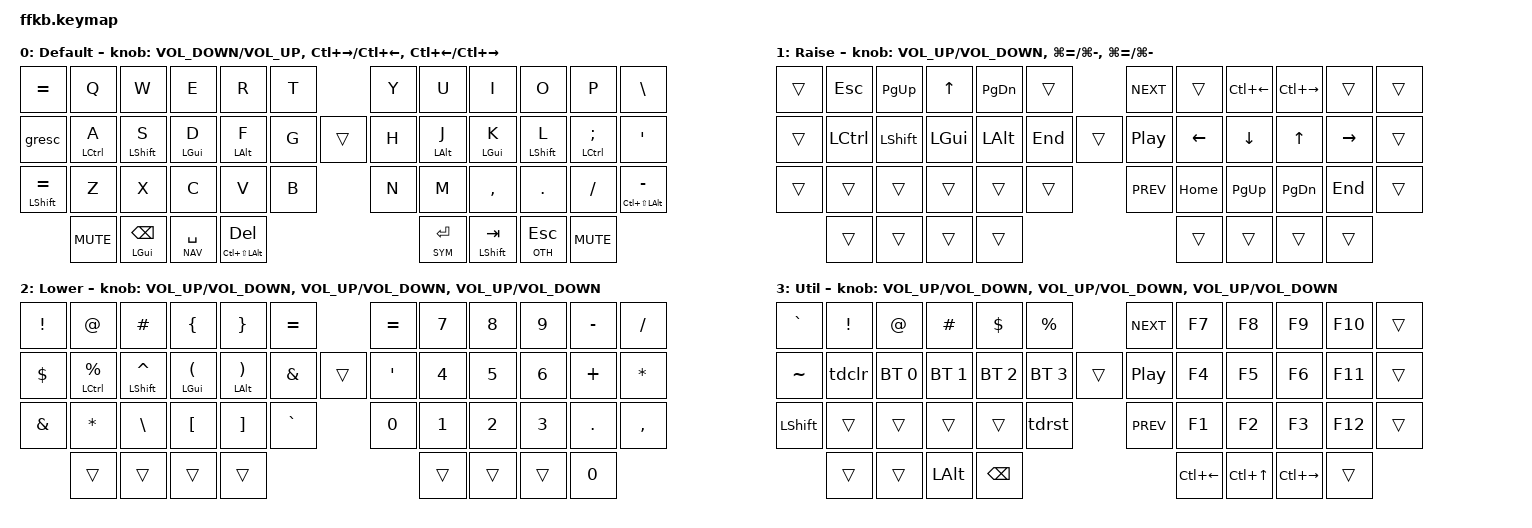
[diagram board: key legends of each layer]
#include <behaviors.dtsi>
#include <dt-bindings/zmk/keys.h>
#include <dt-bindings/zmk/rgb.h>
#include <dt-bindings/zmk/bt.h>
#include <dt-bindings/zmk/ext_power.h>
#include <dt-bindings/zmk/outputs.h>

#define DEFAULT 0
#define NAV     1
#define SYM     2
#define OTH     3


#define TAPPING_TERM 200
#define QUICK_TAP    150

&lt {
	flavor = "tap-preferred";
	tapping-term-ms = <TAPPING_TERM>;
    quick-tap-ms = <QUICK_TAP>;
};

&mt {
	flavor = "tap-preferred";
	tapping-term-ms = <TAPPING_TERM>;
    quick-tap-ms = <QUICK_TAP>;
};
&caps_word {
    continue-list = <UNDERSCORE MINUS>;
};

/ {
    combos {
        compatible = "zmk,combos";
        combo_undo {
            timeout-ms = <50>;
            key-positions = <26 27>;
            bindings = <&kp LC(Z)>;
        };

        combo_q {
            timeout-ms = <50>;
            key-positions = <27 28>;
            bindings = <&kp Q>;
        };
        combo_semicolon {
            timeout-ms = <50>;
            key-positions = <33 34>;
            bindings = <&kp SEMI>;
        };
    };
};

/ {

    sensors {
        compatible = "zmk,keymap-sensors";
        sensors = <&encoder_1 &encoder_2>;
    };

    behaviors {
        tdclr: tap_dance_0 {
            compatible = "zmk,behavior-tap-dance";
            label = "TAP_DANCE_0";
            #binding-cells = <0>;
            tapping-term-ms = <200>;
            bindings = <&none>, <&bt BT_CLR>;
        };
        tdrst: tap_dance_1 {
            compatible = "zmk,behavior-tap-dance";
            label = "TAP_DANCE_0";
            #binding-cells = <0>;
            tapping-term-ms = <200>;
            bindings = <&none>, <&bootloader>;
        };
        hm: layer_mods {
            compatible = "tap-preferred";
            label = "LAYER_MODS";
            #binding-cells = <2>;
            tapping-term-ms = <200>;
            quick_tap_ms = <0>;
            flavor = "balanced";
            bindings = <&kp>, <&kp>;
        };
        hs: homerow_shift {
            compatible = "zmk,behavior-hold-tap";
            label = "HOMEROW_SHIFT";
            #binding-cells = <2>;
            tapping-term-ms = <175>;
            quick_tap_ms = <0>;
            flavor = "tap-preferred";
            bindings = <&kp>, <&kp>;
        };
        tdg: tap_dance_g {
            compatible = "zmk,behavior-tap-dance";
            label = "TAP_DANCE_G";
            #binding-cells = <0>;
            tapping-term-ms = <QUICK_TAP>;
            bindings = <&kp G>, <&caps_word>;
        };
        tdh: tap_dance_h {
            compatible = "zmk,behavior-tap-dance";
            label = "TAP_DANCE_M";
            #binding-cells = <0>;
            tapping-term-ms = <QUICK_TAP>;
            bindings = <&kp H>, <&caps_word>;
        };
    };

    keymap {
        compatible = "zmk,keymap";

        default_layer {
            label = "Default";

            sensor-bindings = <&inc_dec_kp C_VOLUME_DOWN C_VOLUME_UP &inc_dec_kp LC(RIGHT)  LC(LEFT) &inc_dec_kp LC(LEFT)  LC(RIGHT) >;

            bindings = <
    &kp EQUAL        &kp Q          &kp W           &kp E        &kp R         &kp T                              &kp Y        &kp U          &kp I       &kp O         &kp P         &kp BSLH
    &gresc           &mt LCTL A     &hs LSHIFT S    &mt LGUI D   &mt LALT F    &kp G                &trans        &kp H        &mt LALT J   &mt LGUI K   &hs LSHIFT L     &mt LCTL SEMI  &kp SINGLE_QUOTE
    &hs LSHIFT EQUAL &kp Z          &kp X           &kp C        &kp V         &kp B                              &kp N        &kp M          &kp COMMA   &kp DOT       &kp FSLH      &mt LC(LS(LALT)) MINUS
                            &kp C_MUTE       &mt LGUI BSPC  &lt NAV SPACE  &mt LC(LS(LALT)) DEL                      &lt SYM ENTER &hs LSHIFT TAB  &lt OTH ESC &kp C_MUTE
            >;
        };

        raise_layer {
            label = "Raise";

            sensor-bindings = <&inc_dec_kp C_VOLUME_UP C_VOLUME_DOWN &inc_dec_kp LG(EQUAL) LG(MINUS) &inc_dec_kp LG(EQUAL) LG(MINUS)>;

            bindings = <
    &trans     &kp ESC      &kp PG_UP    &kp UP      &kp PG_DN     &trans                                      &kp C_NEXT            &trans         &kp LC(LEFT)    &kp LC(RIGHT)   &trans      &trans
    &trans     &kp LCTL     &kp LSHIFT   &kp LGUI    &kp LALT      &kp END              &trans                 &kp C_PLAY_PAUSE      &kp LEFT       &kp DOWN        &kp UP          &kp RIGHT   &trans
    &trans     &trans       &trans       &trans      &trans        &trans                                      &kp C_PREV            &kp HOME       &kp PG_UP       &kp PG_DN       &kp END     &trans
                                         &trans      &trans        &trans       &trans       &trans         &trans     &trans      &trans
            >;
        };
        lower_layer {
            label = "Lower  ";

            sensor-bindings = <&inc_dec_kp C_VOLUME_UP C_VOLUME_DOWN &inc_dec_kp C_VOLUME_UP C_VOLUME_DOWN &inc_dec_kp C_VOLUME_UP C_VOLUME_DOWN>;

            bindings = <
    &kp EXCL     &kp AT            &kp HASH           &kp LBRC           &kp RBRC         &kp EQUAL                                   &kp EQUAL     &kp N7          &kp N8     &kp N9   &kp MINUS   &kp FSLH
    &kp DLLR     &mt LCTL PRCNT    &mt LSHIFT CARET   &mt LGUI LPAR      &mt LALT RPAR    &kp AMPS              &trans                &kp SQT       &kp N4          &kp N5     &kp N6   &kp PLUS    &kp STAR
    &kp AMPS     &kp STAR          &kp BSLH           &kp LBKT           &kp RBKT         &kp GRAVE                                   &kp N0        &kp N1          &kp N2     &kp N3   &kp DOT     &kp COMMA
                                         &trans          &trans           &trans       &trans        &trans       &trans        &trans            &kp N0
            >;
        };
        util_layer {
            label = "Util";

            sensor-bindings = <&inc_dec_kp C_VOLUME_UP C_VOLUME_DOWN &inc_dec_kp C_VOLUME_UP C_VOLUME_DOWN &inc_dec_kp C_VOLUME_UP C_VOLUME_DOWN>;

            bindings = <
    &kp GRAVE  &kp EXCL &kp AT &kp HASH  &kp DOLLAR &kp PRCNT                                      &kp C_NEXT       &kp F7       &kp F8        &kp F9      &kp F10     &trans
    &kp TILDE  &tdclr    &bt BT_SEL 0 &bt BT_SEL 1 &bt BT_SEL 2 &bt BT_SEL 3               &trans  &kp C_PLAY_PAUSE &kp F4       &kp F5        &kp F6      &kp F11     &trans
    &kp LSHIFT &trans   &trans       &trans      &trans       &tdrst                               &kp C_PREV       &kp F1       &kp F2        &kp F3      &kp F12     &trans
                                        &trans      &trans        &kp LALT      &kp BSPC        &kp LC(LEFT)   &kp LC(UP)    &kp LC(RIGHT)      &trans
            >;
        };
    };
};
